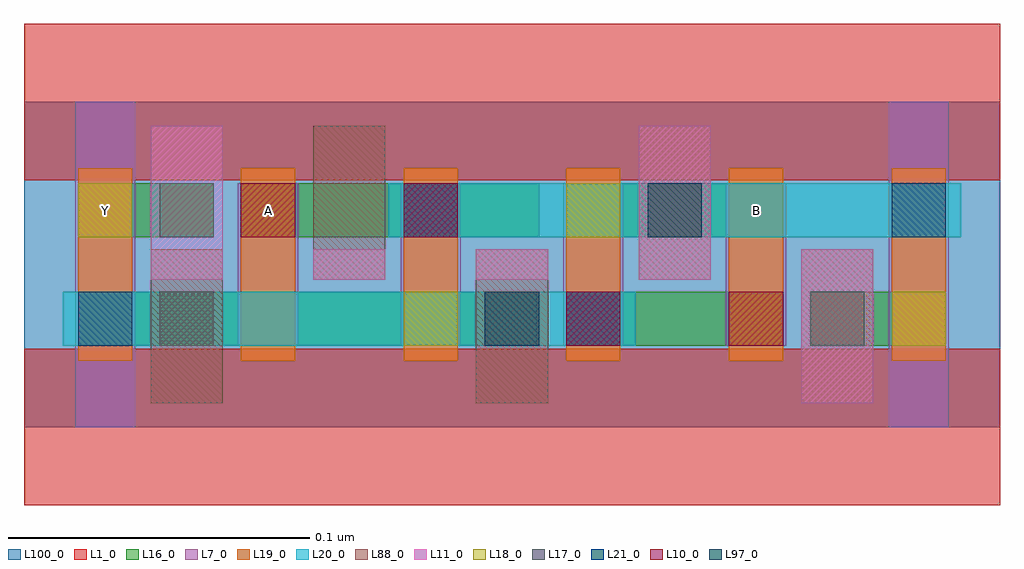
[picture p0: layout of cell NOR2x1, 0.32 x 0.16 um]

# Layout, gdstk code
import gdstk
lib = gdstk.Library(unit=1e-6, precision=2.5e-10)
def R(c, l, rs):  # rectangles x0, y0, x1, y1
    for r in rs: c.add(gdstk.rectangle(r[:2], r[2:], *l))
def A(c, l, x, y, w, h, nx, ny, dx, dy):  # array of equal rectangles
    R(c, l, [(x+i*dx, y+j*dy, x+i*dx+w, y+j*dy+h) for i in range(nx) for j in range(ny)])
L1_0 = (1, 0)
L7_0 = (7, 0)
L10_0 = (10, 0)
L11_0 = (11, 0)
L16_0 = (16, 0)
L17_0 = (17, 0)
L18_0 = (18, 0)
L19_0 = (19, 0)
L20_0 = (20, 0)
L21_0 = (21, 0)
L88_0 = (88, 0)
L97_0 = (97, 0)
L100_0 = (100, 0)

nor2x1 = lib.new_cell('NOR2x1')
R(nor2x1, L1_0, [(0,-0.026,0.324,0.026), (0,0.082,0.324,0.134)])
A(nor2x1, L7_0, 0.071, 0.027, 0.02, 0.054, 4, 1, 0.054, 0)
R(nor2x1, L7_0, [(0.017,0,0.037,0.108), (0.287,0,0.307,0.108)])
R(nor2x1, L10_0, [(0.18,0.027,0.198,0.045), (0.234,0.027,0.252,0.045), (0.072,0.063,0.09,0.081), (0.126,0.063,0.144,0.081)])
R(nor2x1, L11_0, [(0.258,0.008,0.282,0.059), (0.042,0.049,0.066,0.1), (0.096,0.049,0.12,0.059), (0.15,0.049,0.174,0.059), (0.204,0.049,0.228,0.1)])
R(nor2x1, L16_0, [(0.018,0.027,0.171,0.045), (0.18,0.027,0.252,0.045), (0.261,0.027,0.306,0.045), (0.018,0.063,0.063,0.081), (0.072,0.063,0.171,0.081), (0.18,0.063,0.252,0.081)])
A(nor2x1, L17_0, 0.045, 0.027, 0.018, 0.018, 3, 1, 0.108, 0)
R(nor2x1, L17_0, [(0.045,0.063,0.063,0.081), (0.207,0.063,0.225,0.081)])
R(nor2x1, L18_0, [(0.126,0.027,0.144,0.045), (0.234,0.027,0.252,0.045), (0.288,0.027,0.306,0.045), (0.018,0.063,0.036,0.081), (0.072,0.063,0.09,0.081), (0.18,0.063,0.198,0.081)])
A(nor2x1, L19_0, 0.018, 0.022, 0.018, 0.064, 6, 1, 0.054, 0)
R(nor2x1, L20_0, [(0.013,0.027,0.203,0.045), (0.121,0.063,0.311,0.081)])
R(nor2x1, L21_0, [(0.018,0.027,0.036,0.045), (0.18,0.027,0.198,0.045), (0.126,0.063,0.144,0.081), (0.288,0.063,0.306,0.081)])
A(nor2x1, L88_0, 0.042, 0.008, 0.024, 0.051, 3, 1, 0.108, 0)
R(nor2x1, L88_0, [(0.096,0.049,0.12,0.1), (0.204,0.049,0.228,0.1)])
R(nor2x1, L97_0, [(0.153,0.027,0.171,0.045), (0.207,0.063,0.225,0.081)])
R(nor2x1, L100_0, [(0,0,0.324,0.108)])
nor2x1.add(gdstk.Label('A', (0.081,0.072), layer=19, texttype=251))
nor2x1.add(gdstk.Label('B', (0.243,0.072), layer=19, texttype=251))
nor2x1.add(gdstk.Label('Y', (0.027,0.072), layer=19, texttype=251))

lib.write_gds('NOR2x1.gds')
